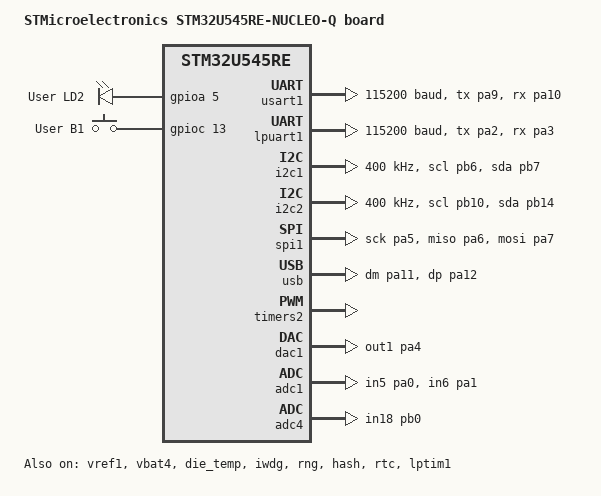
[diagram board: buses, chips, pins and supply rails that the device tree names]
/*
 * SPDX-License-Identifier: Apache-2.0
 *
 * Copyright (c) 2026 Smile
 */

/dts-v1/;
#include <st/u5/stm32u545Xe.dtsi>
#include <st/u5/stm32u545retxq-pinctrl.dtsi>
#include "arduino_r3_connector.dtsi"
#include <zephyr/dt-bindings/input/input-event-codes.h>

/ {
	model = "STMicroelectronics STM32U545RE-NUCLEO-Q board";
	compatible = "st,stm32u545re-nucleo-q";

	#address-cells = <1>;
	#size-cells = <1>;

	chosen {
		zephyr,console = &usart1;
		zephyr,shell-uart = &usart1;
		zephyr,sram = &sram0;
		zephyr,flash = &flash0;
		zephyr,canbus = &fdcan1;
		zephyr,code-partition = &slot0_partition;
	};

	aliases {
		led0 = &green_led_1;
		rtc = &rtc;
		sw0 = &user_button;
		pwm-led0 = &pwm_led_1;
		watchdog0 = &iwdg;
		volt-sensor0 = &vref1;
		volt-sensor1 = &vbat4;
		die-temp0 = &die_temp;
	};

	leds: leds {
		compatible = "gpio-leds";

		/* CAUTION: LD2 on PA5 may conflict with SPI1 SCK on same pin */
		green_led_1: led_2 {
			gpios = <&gpioa 5 GPIO_ACTIVE_HIGH>;
			label = "User LD2";
		};
	};

	gpio_keys {
		compatible = "gpio-keys";

		user_button: button {
			label = "User B1";
			gpios = <&gpioc 13 (GPIO_ACTIVE_HIGH | GPIO_PULL_DOWN)>;
			zephyr,code = <INPUT_KEY_0>;
		};
	};

	pwmleds: pwmleds {
		compatible = "pwm-leds";
		/* NOTE: disabled by default, PWM reuses LED pins */
		status = "disabled";

		pwm_led_1: green_led_1 {
			pwms = <&pwm2 1 PWM_MSEC(20) PWM_POLARITY_NORMAL>;
			label = "green led";
		};
	};
};

&flash0 {
	partitions {
		ranges;
		#address-cells = <1>;
		#size-cells = <1>;

		/*
		 * Following flash partition is dedicated to the use of nucleo_u545re_q
		 * with TZEN=0 (so w/o TFM).
		 * The board has in total 512 KiB of flash memory
		 */
		boot_partition: partition@0 {
			compatible = "zephyr,mapped-partition";
			label = "mcuboot";
			reg = <0x00000000 DT_SIZE_K(32)>;
		};

		slot0_partition: partition@8000 {
			compatible = "zephyr,mapped-partition";
			label = "image-0";
			reg = <0x00008000 DT_SIZE_K(220)>;
		};

		slot1_partition: partition@40000 {
			compatible = "zephyr,mapped-partition";
			label = "image-1";
			reg = <0x00040000 DT_SIZE_K(228)>;
		};

		storage_partition: partition@78000 {
			compatible = "zephyr,mapped-partition";
			label = "storage";
			reg = <0x00078000 DT_SIZE_K(32)>;
		};
	};
};

&clk_hsi48 {
	status = "okay";
};

&clk_lse {
	status = "okay";
};

&clk_msis {
	status = "okay";
	msi-range = <4>;
	msi-pll-mode;
};

&pll1 {
	div-m = <1>;
	mul-n = <80>;
	div-q = <2>;
	div-r = <2>;
	clocks = <&clk_msis>;
	status = "okay";
};

&rcc {
	clocks = <&pll1>;
	clock-frequency = <DT_FREQ_M(160)>;
	ahb-prescaler = <1>;
	apb1-prescaler = <1>;
	apb2-prescaler = <1>;
	apb3-prescaler = <1>;
};

&clk_lsi {
	status = "okay";
};

&usart1 {
	pinctrl-0 = <&usart1_tx_pa9 &usart1_rx_pa10>;
	pinctrl-names = "default";
	current-speed = <115200>;
	status = "okay";
};

&lpuart1 {
	pinctrl-0 = <&lpuart1_tx_pa2 &lpuart1_rx_pa3>;
	pinctrl-names = "default";
	current-speed = <115200>;
	status = "okay";
};

&i2c1 {
	pinctrl-0 = <&i2c1_scl_pb6 &i2c1_sda_pb7>;
	pinctrl-names = "default";
	status = "okay";
	clock-frequency = <I2C_BITRATE_FAST>;
};

&i2c2 {
	pinctrl-0 = <&i2c2_scl_pb10 &i2c2_sda_pb14>;
	pinctrl-names = "default";
	status = "okay";
	clock-frequency = <I2C_BITRATE_FAST>;
};

&spi1 {
	pinctrl-0 = <&spi1_sck_pa5 &spi1_miso_pa6 &spi1_mosi_pa7>;
	pinctrl-names = "default";

	cs-gpios = <&gpioc 9 GPIO_ACTIVE_LOW>;
	status = "okay";
};

&fdcan1 {
	/* NOTE: disabled by default, FDCAN reuses USB pins */
	clocks = <&rcc STM32_CLOCK(APB1_2, 9)>,
		 <&rcc STM32_SRC_PLL1_Q FDCAN1_SEL(1)>;
	pinctrl-0 = <&fdcan1_rx_pa11 &fdcan1_tx_pa12>;
	pinctrl-names = "default";
	status = "disabled";
};

zephyr_udc0: &usb {
	pinctrl-0 = <&usb_dm_pa11 &usb_dp_pa12>;
	pinctrl-names = "default";
	status = "okay";
};

&timers2 {
	st,prescaler = <10000>;
	status = "okay";

	pwm2: pwm {
		pinctrl-0 = <&tim2_ch1_pa5>;
		pinctrl-names = "default";
		status = "okay";
	};
};

&dac1 {
	/* CAUTION: DAC on PA4 may conflict with SPI1 NSS on same pin */
	pinctrl-0 = <&dac1_out1_pa4>; /* Arduino A2 */
	pinctrl-names = "default";
	status = "okay";
};

&adc1 {
	pinctrl-0 = <&adc1_in5_pa0 &adc1_in6_pa1>; /* Arduino A0 & A1 */
	pinctrl-names = "default";
	st,adc-clock-source = "ASYNC";
	st,adc-prescaler = <4>;
	status = "okay";
};

&adc4 {
	pinctrl-0 = <&adc4_in18_pb0>; /* Arduino A3 */
	pinctrl-names = "default";
	st,adc-clock-source = "ASYNC";
	st,adc-prescaler = <4>;
	status = "okay";
};

&vref1 {
	status = "okay";
};

&vbat4 {
	status = "okay";
};

&die_temp {
	status = "okay";
};

&gpdma1 {
	status = "okay";
};

&iwdg {
	status = "okay";
};

&rng {
	status = "okay";
};

&hash {
	status = "okay";
};

&rtc {
	clocks = <&rcc STM32_CLOCK(APB3, 21)>,
		 <&rcc STM32_SRC_LSE RTC_SEL(1)>;
	status = "okay";
};

stm32_lp_tick_source: &lptim1 {
	clocks = <&rcc STM32_CLOCK(APB3, 11)>,
		 <&rcc STM32_SRC_LSI LPTIM1_SEL(1)>;
	status = "okay";
};
